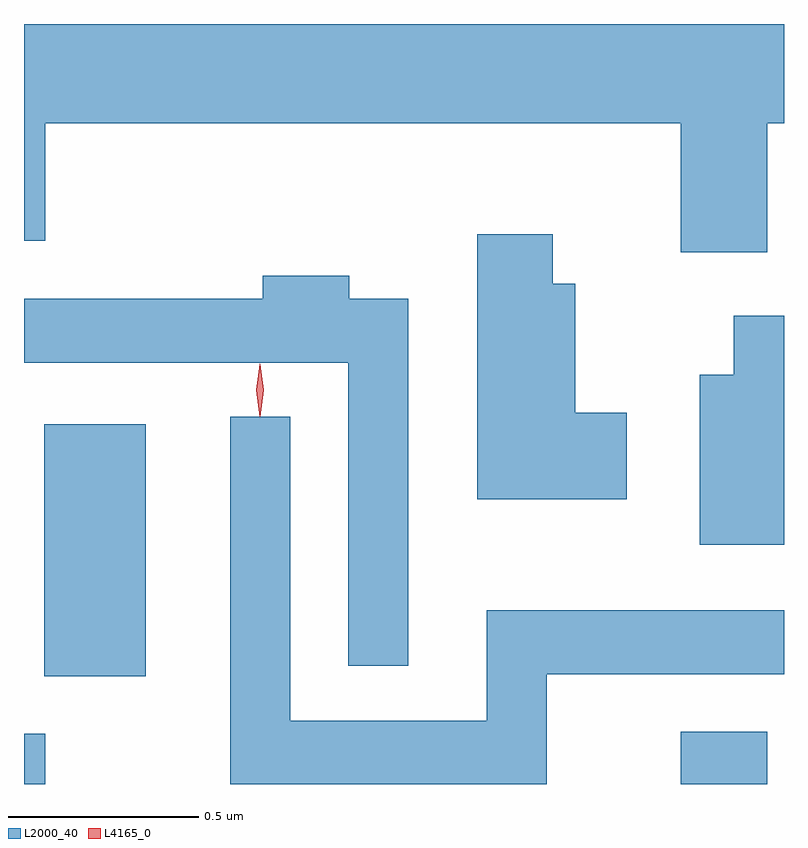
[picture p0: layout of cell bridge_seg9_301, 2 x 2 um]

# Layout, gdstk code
import gdstk
lib = gdstk.Library(unit=1e-6, precision=1e-09)
def R(c, l, rs):  # rectangles x0, y0, x1, y1
    for r in rs: c.add(gdstk.rectangle(r[:2], r[2:], *l))
def P(c, l, *ps):  # polygons
    for p in ps: c.add(gdstk.Polygon(p, *l))
L2000_40 = (2000, 40)
L4165_0 = (4165, 0)

bridge_seg9_301 = lib.new_cell('bridge_seg9_301')
R(bridge_seg9_301, L2000_40, [(999.983,2078.877,1000.039,2079.009), (1001.711,2078.877,1001.939,2079.014), (1000.036,2079.161,1000.304,2079.824)])
P(bridge_seg9_301, L2000_40, [(1001.939,2080.616),(1001.983,2080.616),(1001.983,2080.877),(999.983,2080.877),(999.983,2080.306),(1000.039,2080.306),(1000.039,2080.616),(1001.711,2080.616),(1001.711,2080.276),(1001.939,2080.276)],
  [(1001.569,2079.854),(1001.434,2079.854),(1001.434,2080.194),(1001.374,2080.194),(1001.374,2080.324),(1001.176,2080.324),(1001.176,2079.626),(1001.569,2079.626)],
  [(1000.994,2080.154),(1000.839,2080.154),(1000.839,2080.214),(1000.611,2080.214),(1000.611,2080.154),(999.983,2080.154),(999.983,2079.986),(1000.836,2079.986),(1000.836,2079.188),(1000.994,2079.188)],
  [(1001.983,2080.109),(1001.851,2080.109),(1001.851,2079.954),(1001.761,2079.954),(1001.761,2079.506),(1001.983,2079.506)],
  [(1001.359,2079.166),(1001.983,2079.166),(1001.983,2079.334),(1001.201,2079.334),(1001.201,2079.044),(1000.684,2079.044),(1000.684,2079.843),(1000.526,2079.843),(1000.526,2078.877),(1001.359,2078.877)])
P(bridge_seg9_301, L4165_0, [(1000.604,2079.844),(1000.604,2079.844),(1000.594,2079.913),(1000.604,2079.982),(1000.604,2079.983),(1000.605,2079.982),(1000.614,2079.913),(1000.605,2079.844)],
  [(1000.604,2079.847),(1000.604,2079.847),(1000.594,2079.914),(1000.604,2079.98),(1000.604,2079.98),(1000.605,2079.98),(1000.614,2079.914),(1000.605,2079.847)])

lib.write_gds('bridge_seg9_301.gds')
